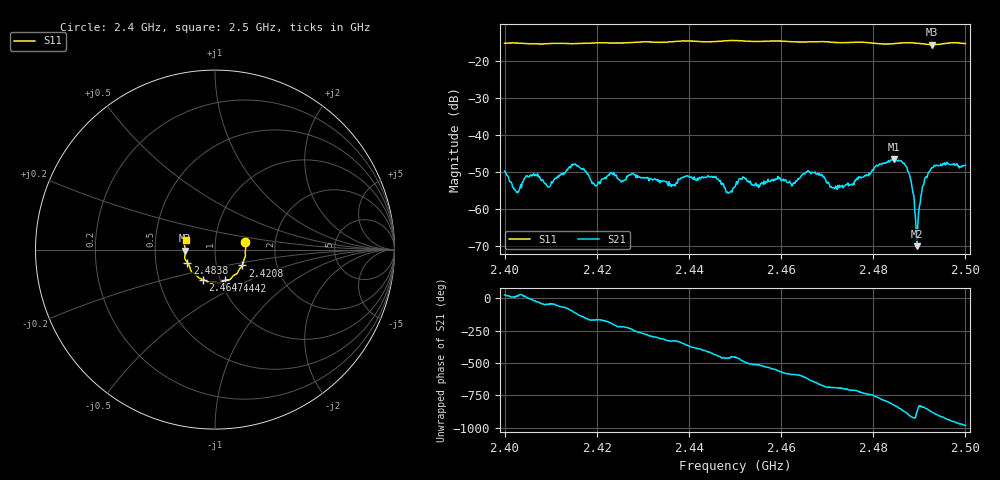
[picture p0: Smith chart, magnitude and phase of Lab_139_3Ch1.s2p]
# Hz S RI R 50
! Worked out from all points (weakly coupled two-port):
!   601 points, 2.4 GHz to 2.5 GHz, reference 50 ohm
!   highest |S21| = -46.60 dB at 2.4845 GHz (marker M1); lowest = -70.0 dB at 2.4895 GHz (marker M2)
!   lowest |S11| = -15.6 dB at 2.4928 GHz (marker M3), VSWR 1.40, Z = 35.8 - j0.393 ohm
!   |S11| at or under -10 dB: start of sweep to end of sweep
!   S12 and S22 are empty: the file has one direction only
!   S11 on the Smith chart (normalised r, x): 2.4 GHz: 1.40, +0.12; 2.4208 GHz: 1.33, -0.24; 2.4442 GHz: 1.05, -0.37; 2.4647 GHz: 0.83, -0.29; 2.4838 GHz: 0.73, -0.11; 2.5 GHz: 0.72, +0.08
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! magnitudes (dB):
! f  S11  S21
! 2.4 GHz  -15.2  -49.7
! 2.4027 GHz  -15.2  -55.6
! 2.4052 GHz  -15.4  -51.3
! 2.4095 GHz  -15.3  -54.1
! 2.415 GHz  -15.3  -47.9
! 2.4167 GHz  -15.3  -49.2
! 2.4208 GHz  -15.1  -52.7
! 2.4333 GHz  -15.0  -52.5
! 2.4442 GHz  -14.9  -51.0
! 2.4485 GHz  -14.5  -55.6
! 2.45 GHz  -14.5  -54.0
! 2.4647 GHz  -14.9  -50.7
! 2.4667 GHz  -14.8  -50.0
! 2.4717 GHz  -15.0  -54.5
! 2.4833 GHz  -15.4  -46.9
! 2.4838 GHz  -15.4  -46.7
! 2.4845 GHz  -15.3  -46.6
! 2.4877 GHz  -15.1  -50.0
! 2.4895 GHz  -15.2  -70.0
! 2.491 GHz  -15.4  -53.2
! 2.4928 GHz  -15.6  -48.8
! 2.5 GHz  -15.3  -48.2
